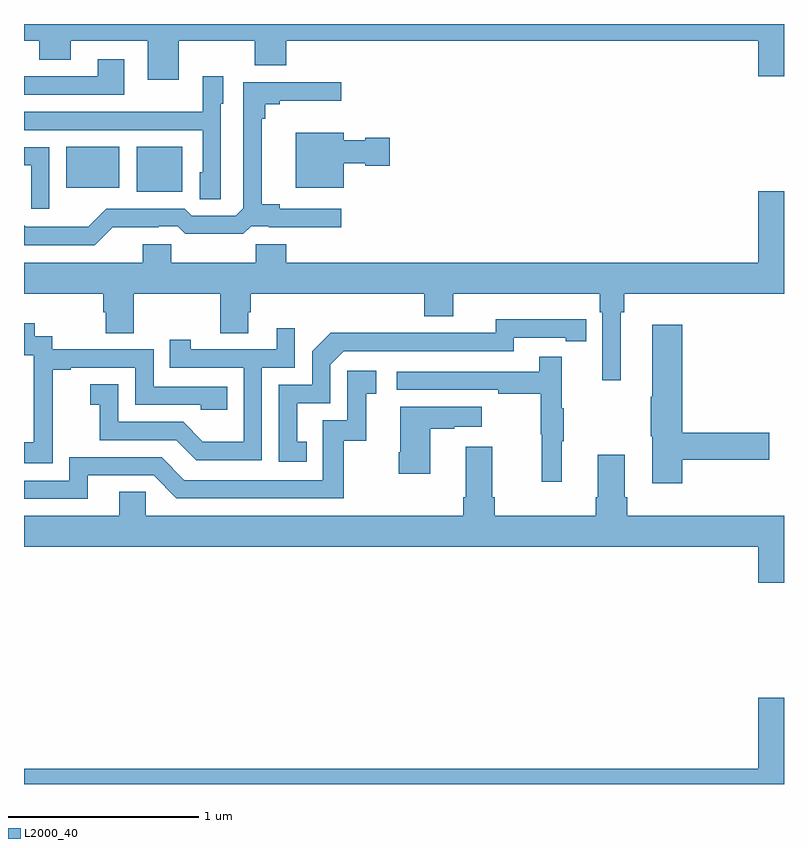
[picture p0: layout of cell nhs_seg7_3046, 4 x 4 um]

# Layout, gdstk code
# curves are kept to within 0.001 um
import gdstk
lib = gdstk.Library(unit=1e-6, precision=1e-09)
def R(c, l, rs):  # rectangles x0, y0, x1, y1
    for r in rs: c.add(gdstk.rectangle(r[:2], r[2:], *l))
def P(c, l, *ps):  # polygons
    for p in ps: c.add(gdstk.Polygon(p, *l))
L2000_40 = (2000, 40)

nhs_seg7_3046 = lib.new_cell('nhs_seg7_3046')
R(nhs_seg7_3046, L2000_40, [(305.594,1037.117,305.833,1037.353), (305.222,1037.138,305.5,1037.353)])
P(nhs_seg7_3046, L2000_40, [(305.815,1037.912),(306.215,1037.912),(306.215,1037.784),(306.379,1037.784),(306.379,1037.912),(308.864,1037.912),(308.864,1037.724),(309,1037.724),(309,1038),(305,1038),(305,1037.912),(305.081,1037.912),(305.081,1037.813),(305.245,1037.813),(305.245,1037.912),(305.651,1037.912),(305.651,1037.706),(305.815,1037.706)],
  [(305.527,1037.815),(305.387,1037.815),(305.387,1037.724),(305,1037.724),(305,1037.628),(305.527,1037.628)],
  [(306.036,1037.58),(306.049,1037.58),(306.049,1037.725),(305.94,1037.725),(305.94,1037.539),(305.623,1037.539),(305.623,1037.538),(305,1037.538),(305,1037.442),(305.94,1037.442),(305.94,1037.22),(305.924,1037.22),(305.924,1037.077),(306.036,1037.077)],
  [(305.468,1036.93),(305.708,1036.93),(305.708,1036.935),(305.808,1036.935),(305.848,1036.896),(306.155,1036.896),(306.195,1036.935),(306.289,1036.935),(306.289,1036.93),(306.67,1036.93),(306.67,1037.028),(306.346,1037.028),(306.346,1037.051),(306.251,1037.051),(306.251,1037.501),(306.269,1037.501),(306.269,1037.578),(306.346,1037.578),(306.346,1037.597),(306.67,1037.597),(306.67,1037.694),(306.153,1037.694),(306.153,1037.031),(306.114,1036.992),(305.883,1036.992),(305.847,1037.028),(305.433,1037.028),(305.339,1036.934),(305.234,1036.934),(305.234,1036.932),(305.01,1036.932),(305,1036.942),(305,1036.836),(305.373,1036.836)],
  [(306.682,1037.267),(306.795,1037.267),(306.795,1037.255),(306.925,1037.255),(306.925,1037.402),(306.795,1037.402),(306.795,1037.389),(306.682,1037.389),(306.682,1037.428),(306.431,1037.428),(306.431,1037.138),(306.682,1037.138)],
  [(305.133,1037.352),(305,1037.352),(305,1037.256),(305.037,1037.256),(305.037,1037.028),(305.133,1037.028)],
  [(308.14,1036.484),(308.159,1036.484),(308.159,1036.58),(309,1036.58),(309,1037.119),(308.864,1037.119),(308.864,1036.744),(306.38,1036.744),(306.38,1036.842),(306.22,1036.842),(306.22,1036.744),(305.775,1036.744),(305.775,1036.842),(305.624,1036.842),(305.624,1036.744),(305,1036.744),(305,1036.58),(305.417,1036.58),(305.417,1036.482),(305.429,1036.482),(305.429,1036.372),(305.577,1036.372),(305.577,1036.58),(306.034,1036.58),(306.034,1036.372),(306.181,1036.372),(306.181,1036.482),(306.194,1036.482),(306.194,1036.58),(307.106,1036.58),(307.106,1036.463),(307.258,1036.463),(307.258,1036.58),(308.03,1036.58),(308.03,1036.484),(308.043,1036.484),(308.043,1036.125),(308.14,1036.125)],
  [(306.488,1035.801),(306.439,1035.801),(306.439,1036.005),(306.612,1036.005),(306.612,1036.206),(306.684,1036.278),(307.578,1036.278),(307.578,1036.35),(307.85,1036.35),(307.85,1036.33),(307.958,1036.33),(307.958,1036.446),(307.482,1036.447),(307.482,1036.374),(307.022,1036.374),(307.022,1036.376),(306.614,1036.376),(306.516,1036.278),(306.516,1036.101),(306.342,1036.101),(306.342,1035.696),(306.488,1035.696)],
  [(305.151,1035.895),(305.15,1035.895),(305.15,1036.179),(305.245,1036.179),(305.245,1036.191),(305.586,1036.191),(305.586,1035.996),(305.931,1035.996),(305.931,1035.969),(306.071,1035.969),(306.071,1036.092),(305.682,1036.092),(305.682,1036.287),(305.148,1036.287),(305.148,1036.356),(305.056,1036.356),(305.056,1036.426),(305,1036.426),(305,1036.257),(305.052,1036.257),(305.052,1036.028),(305.051,1036.028),(305.051,1035.799),(305,1035.799),(305,1035.689),(305.151,1035.689)],
  [(308.465,1035.706),(308.923,1035.706),(308.923,1035.848),(308.465,1035.848),(308.465,1036.417),(308.306,1036.417),(308.306,1036.037),(308.299,1036.037),(308.299,1035.831),(308.306,1035.831),(308.306,1035.582),(308.465,1035.582)],
  [(306.252,1036.191),(306.426,1036.191),(306.426,1036.399),(306.329,1036.399),(306.329,1036.287),(305.878,1036.287),(305.878,1036.339),(305.767,1036.339),(305.767,1036.191),(306.156,1036.191),(306.156,1035.802),(305.942,1035.802),(305.838,1035.906),(305.496,1035.906),(305.496,1036.105),(305.349,1036.105),(305.349,1035.995),(305.398,1035.995),(305.398,1035.81),(305.801,1035.81),(305.906,1035.705),(306.252,1035.705)],
  [(307.829,1035.803),(307.84,1035.803),(307.84,1035.977),(307.829,1035.977),(307.829,1036.249),(307.711,1036.249),(307.711,1036.17),(306.963,1036.17),(306.963,1036.074),(307.495,1036.074),(307.495,1036.054),(307.719,1036.054),(307.719,1035.84),(307.726,1035.84),(307.726,1035.591),(307.829,1035.591)],
  [(305.335,1035.624),(305.682,1035.624),(305.802,1035.504),(306.682,1035.504),(306.682,1035.807),(306.8,1035.807),(306.8,1036.053),(306.853,1036.053),(306.853,1036.174),(306.702,1036.174),(306.702,1035.915),(306.573,1035.915),(306.573,1035.6),(305.844,1035.6),(305.724,1035.72),(305.238,1035.72),(305.238,1035.597),(305,1035.597),(305,1035.501),(305.335,1035.501)],
  [(307.138,1035.871),(307.265,1035.871),(307.265,1035.881),(307.408,1035.881),(307.408,1035.985),(306.98,1035.985),(306.98,1035.745),(306.973,1035.745),(306.973,1035.632),(307.138,1035.632)],
  [(309,1035.412),(308.174,1035.412),(308.174,1035.508),(308.161,1035.508),(308.161,1035.733),(308.021,1035.733),(308.021,1035.508),(308.009,1035.508),(308.009,1035.412),(307.478,1035.412),(307.478,1035.508),(307.465,1035.508),(307.465,1035.775),(307.325,1035.775),(307.325,1035.508),(307.313,1035.508),(307.313,1035.412),(305.64,1035.412),(305.64,1035.539),(305.501,1035.539),(305.501,1035.412),(305,1035.412),(305,1035.248),(308.864,1035.248),(308.864,1035.06),(309,1035.06)],
  [(309,1034.455),(308.864,1034.455),(308.864,1034.08),(305,1034.08),(305,1034),(309,1034)])

lib.write_gds('nhs_seg7_3046.gds')
